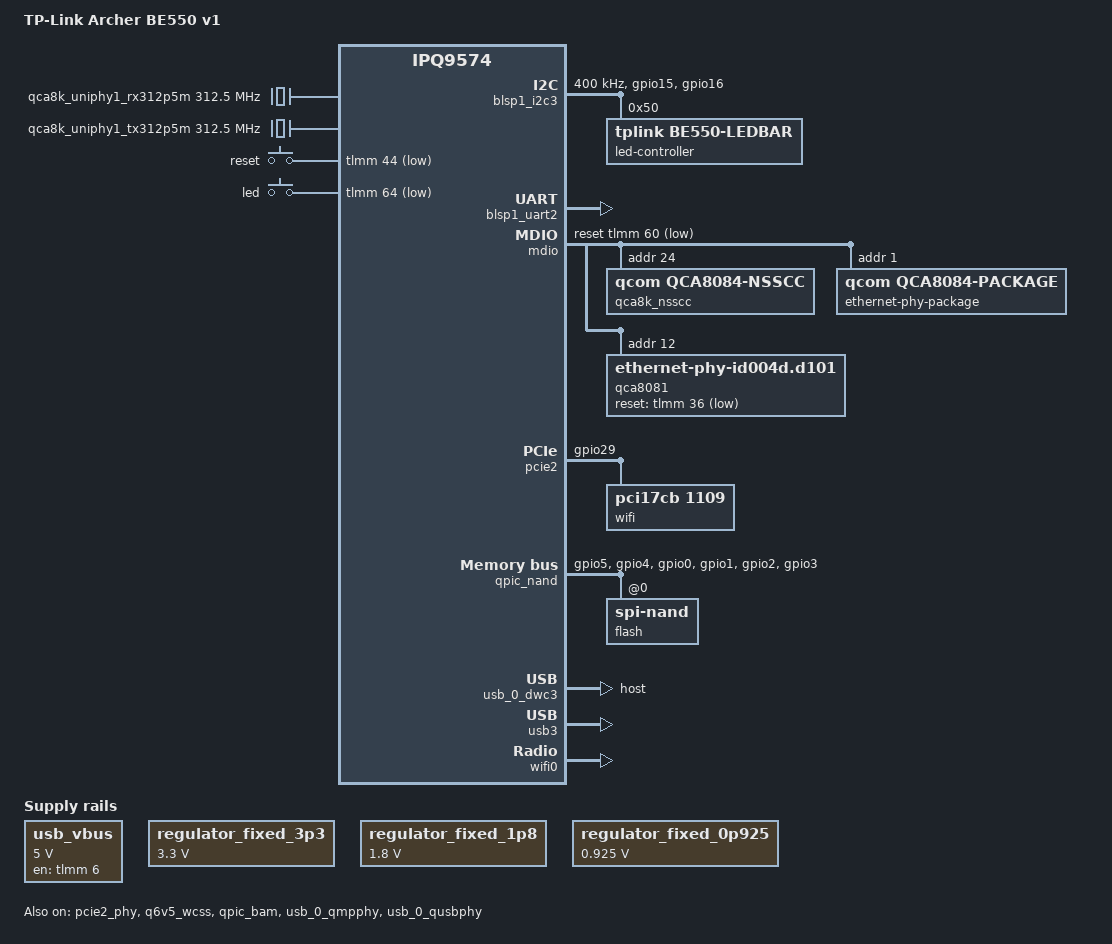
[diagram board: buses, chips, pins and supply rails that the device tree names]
// SPDX-License-Identifier: (GPL-2.0+ OR BSD-3-Clause)

/dts-v1/;

#include <dt-bindings/gpio/gpio.h>
#include <dt-bindings/input/input.h>

#include "ipq9574.dtsi"

#include <dt-bindings/clock/qcom,qca8k-nsscc.h>
#include <dt-bindings/net/qcom,qca808x.h>
#include <dt-bindings/reset/qcom,qca8k-nsscc.h>

/ {
	model = "TP-Link Archer BE550 v1";
	compatible = "tplink,archer-be550-v1", "qcom,ipq9574";

	aliases {
		serial0 = &blsp1_uart2;
	};

	chosen {
		stdout-path = "serial0:115200n8";
		/*
		 * TP-Link's U-Boot appends "ubi.mtd=rootfs[_1]
		 * root=mtd:ubi_rootfs rootfstype=squashfs"; boot the
		 * OpenWrt "rootfs" volume through ubiblock instead.
		 */
		bootargs-append = " root=/dev/ubiblock0_1";
	};

	clocks {
		qca8k_uniphy1_rx312p5m: qca8k-uniphy1-rx312p5m {
			compatible = "fixed-clock";
			clock-frequency = <312500000>;
			#clock-cells = <0>;
		};

		qca8k_uniphy1_tx312p5m: qca8k-uniphy1-tx312p5m {
			compatible = "fixed-clock";
			clock-frequency = <312500000>;
			#clock-cells = <0>;
		};
	};

	/* Integrated radio (WCSS) carve-outs after q6_region, as in the stock DTB */
	reserved-memory {
		m3-dump@4d600000 {
			reg = <0x0 0x4d600000 0x0 0x100000>;
			no-map;
		};

		q6-etr-dump@4d700000 {
			reg = <0x0 0x4d700000 0x0 0x100000>;
			no-map;
		};

		q6-caldb@4d800000 {
			reg = <0x0 0x4d800000 0x0 0x500000>;
			no-map;
		};
	};

	keys {
		compatible = "gpio-keys";
		pinctrl-0 = <&keys_pins>;
		pinctrl-names = "default";

		button-reset {
			label = "reset";
			linux,code = <KEY_RESTART>;
			gpios = <&tlmm 44 GPIO_ACTIVE_LOW>;
			debounce-interval = <60>;
		};

		button-led {
			label = "led";
			linux,code = <KEY_LIGHTS_TOGGLE>;
			gpios = <&tlmm 64 GPIO_ACTIVE_LOW>;
			debounce-interval = <60>;
		};
	};

	/* stock "usb_enabled" GPIO, set high at boot: switches the USB port's VBUS */
	regulator-usb-vbus {
		compatible = "regulator-fixed";
		regulator-name = "usb_vbus";
		regulator-min-microvolt = <5000000>;
		regulator-max-microvolt = <5000000>;
		gpios = <&tlmm 6 GPIO_ACTIVE_HIGH>;
		enable-active-high;
		regulator-always-on;
	};

	/*
	 * The stock DTB declares no USB PHY supplies and only configures MP5496
	 * s1/s2/s4; model the PHY rails as fixed regulators, never RPM L2.
	 */
	regulator_fixed_3p3: s3300 {
		compatible = "regulator-fixed";
		regulator-min-microvolt = <3300000>;
		regulator-max-microvolt = <3300000>;
		regulator-boot-on;
		regulator-always-on;
		regulator-name = "fixed_3p3";
	};

	regulator_fixed_1p8: s1800 {
		compatible = "regulator-fixed";
		regulator-min-microvolt = <1800000>;
		regulator-max-microvolt = <1800000>;
		regulator-boot-on;
		regulator-always-on;
		regulator-name = "fixed_1p8";
	};

	regulator_fixed_0p925: s0925 {
		compatible = "regulator-fixed";
		regulator-min-microvolt = <925000>;
		regulator-max-microvolt = <925000>;
		regulator-boot-on;
		regulator-always-on;
		regulator-name = "fixed_0p925";
	};
};

/* front panel LED microcontroller, as in the stock device tree */
&blsp1_i2c3 {
	pinctrl-0 = <&i2c3_pins>;
	pinctrl-names = "default";
	clock-frequency = <400000>;
	status = "okay";

	led-controller@50 {
		compatible = "tplink,be550-ledbar";
		reg = <0x50>;
	};
};

&blsp1_uart2 {
	pinctrl-0 = <&uart2_pins>;
	pinctrl-names = "default";
	status = "okay";
};

&mdio {
	clock-frequency = <6250000>;
	pinctrl-0 = <&mdio_pins>;
	pinctrl-names = "default";
	/* stock: phy-reset-gpio = <&tlmm 60 0 &tlmm 36 0> */
	reset-gpios = <&tlmm 60 GPIO_ACTIVE_LOW>;
	status = "okay";

	qca8k_nsscc: clock-controller@18 {
		compatible = "qcom,qca8084-nsscc";
		reg = <0x18>;
		clocks = <&cmn_pll ETH0_50MHZ_CLK>,
			 <0>,
			 <0>,
			 <0>,
			 <0>,
			 <&qca8k_uniphy1_rx312p5m>,
			 <&qca8k_uniphy1_tx312p5m>;
		#clock-cells = <1>;
		#reset-cells = <1>;
	};

	ethernet-phy-package@1 {
		#address-cells = <1>;
		#size-cells = <0>;
		compatible = "qcom,qca8084-package";
		reg = <1>;
		clocks = <&qca8k_nsscc NSS_CC_APB_BRIDGE_CLK>,
			 <&qca8k_nsscc NSS_CC_AHB_CLK>,
			 <&qca8k_nsscc NSS_CC_SEC_CTRL_AHB_CLK>,
			 <&qca8k_nsscc NSS_CC_TLMM_CLK>,
			 <&qca8k_nsscc NSS_CC_TLMM_AHB_CLK>,
			 <&qca8k_nsscc NSS_CC_CNOC_AHB_CLK>,
			 <&qca8k_nsscc NSS_CC_MDIO_AHB_CLK>;
		clock-names = "apb_bridge",
			      "ahb",
			      "sec_ctrl_ahb",
			      "tlmm",
			      "tlmm_ahb",
			      "cnoc_ahb",
			      "mdio_ahb";
		resets = <&qca8k_nsscc NSS_CC_GEPHY_FULL_ARES>;
		qcom,phy-addr-fixup = <1 2 3 4 5 6 7>;
		qcom,package-mode = <QCA808X_PCS1_10G_QXGMII_PCS0_UNUNSED>;

		qca8084_0: ethernet-phy@1 {
			compatible = "ethernet-phy-id004d.d180";
			reg = <1>;
			clocks = <&qca8k_nsscc NSS_CC_GEPHY0_SYS_CLK>;
			resets = <&qca8k_nsscc NSS_CC_GEPHY0_SYS_ARES>;
			qcom,xpcs-channel = <0>;
		};

		qca8084_1: ethernet-phy@2 {
			compatible = "ethernet-phy-id004d.d180";
			reg = <2>;
			clocks = <&qca8k_nsscc NSS_CC_GEPHY1_SYS_CLK>;
			resets = <&qca8k_nsscc NSS_CC_GEPHY1_SYS_ARES>;
			qcom,xpcs-channel = <1>;
		};

		qca8084_2: ethernet-phy@3 {
			compatible = "ethernet-phy-id004d.d180";
			reg = <3>;
			clocks = <&qca8k_nsscc NSS_CC_GEPHY2_SYS_CLK>;
			resets = <&qca8k_nsscc NSS_CC_GEPHY2_SYS_ARES>;
			qcom,xpcs-channel = <2>;
		};

		qca8084_3: ethernet-phy@4 {
			compatible = "ethernet-phy-id004d.d180";
			reg = <4>;
			clocks = <&qca8k_nsscc NSS_CC_GEPHY3_SYS_CLK>;
			resets = <&qca8k_nsscc NSS_CC_GEPHY3_SYS_ARES>;
			qcom,xpcs-channel = <3>;
		};

		pcs-phy@6 {
			compatible = "qcom,qca8k-pcs-phy";
			reg = <6>;
			clocks = <&qca8k_nsscc NSS_CC_SRDS1_SYS_CLK>,
				 <&qca8k_uniphy1_tx312p5m>,
				 <&qca8k_uniphy1_rx312p5m>;
			clock-names = "pcs", "pcs_rx_root", "pcs_tx_root";
			resets = <&qca8k_nsscc NSS_CC_SRDS1_SYS_ARES>;
		};

		xpcs-phy@7 {
			compatible = "qcom,qca8k-xpcs-phy";
			reg = <7>;
			#address-cells = <1>;
			#size-cells = <0>;
			resets = <&qca8k_nsscc NSS_CC_XPCS_ARES>;

			channel@0 {
				reg = <0>;
				clocks = <&qca8k_nsscc NSS_CC_MAC1_SRDS1_CH0_XGMII_TX_CLK>,
					 <&qca8k_nsscc NSS_CC_MAC1_SRDS1_CH0_XGMII_RX_CLK>,
					 <&qca8k_nsscc NSS_CC_MAC1_SRDS1_CH0_TX_CLK>,
					 <&qca8k_nsscc NSS_CC_MAC1_SRDS1_CH0_RX_CLK>,
					 <&qca8k_nsscc NSS_CC_MAC1_GEPHY0_RX_CLK>,
					 <&qca8k_nsscc NSS_CC_MAC1_GEPHY0_TX_CLK>,
					 <&qca8k_nsscc NSS_CC_MAC1_RX_CLK_SRC>,
					 <&qca8k_nsscc NSS_CC_MAC1_TX_CLK_SRC>;
				clock-names = "xgmii_rx",
					      "xgmii_tx",
					      "xpcs_rx",
					      "xpcs_tx",
					      "port_rx",
					      "port_tx",
					      "rx_src",
					      "tx_src";
				resets = <&qca8k_nsscc NSS_CC_MAC1_SRDS1_CH0_XGMII_TX_ARES>,
					 <&qca8k_nsscc NSS_CC_MAC1_SRDS1_CH0_XGMII_RX_ARES>,
					 <&qca8k_nsscc NSS_CC_MAC1_SRDS1_CH0_TX_ARES>,
					 <&qca8k_nsscc NSS_CC_MAC1_SRDS1_CH0_RX_ARES>,
					 <&qca8k_nsscc NSS_CC_MAC1_GEPHY0_RX_ARES>,
					 <&qca8k_nsscc NSS_CC_MAC1_GEPHY0_TX_ARES>;
				reset-names = "xgmii_rx",
					      "xgmii_tx",
					      "xpcs_rx",
					      "xpcs_tx",
					      "port_rx",
					      "port_tx";
			};

			channel@1 {
				reg = <1>;
				clocks = <&qca8k_nsscc NSS_CC_MAC2_SRDS1_CH1_XGMII_TX_CLK>,
					 <&qca8k_nsscc NSS_CC_MAC2_SRDS1_CH1_XGMII_RX_CLK>,
					 <&qca8k_nsscc NSS_CC_MAC2_SRDS1_CH1_TX_CLK>,
					 <&qca8k_nsscc NSS_CC_MAC2_SRDS1_CH1_RX_CLK>,
					 <&qca8k_nsscc NSS_CC_MAC2_GEPHY1_RX_CLK>,
					 <&qca8k_nsscc NSS_CC_MAC2_GEPHY1_TX_CLK>,
					 <&qca8k_nsscc NSS_CC_MAC2_RX_CLK_SRC>,
					 <&qca8k_nsscc NSS_CC_MAC2_TX_CLK_SRC>;
				clock-names = "xgmii_rx",
					      "xgmii_tx",
					      "xpcs_rx",
					      "xpcs_tx",
					      "port_rx",
					      "port_tx",
					      "rx_src",
					      "tx_src";
				resets = <&qca8k_nsscc NSS_CC_MAC2_SRDS1_CH1_XGMII_TX_ARES>,
					 <&qca8k_nsscc NSS_CC_MAC2_SRDS1_CH1_XGMII_RX_ARES>,
					 <&qca8k_nsscc NSS_CC_MAC2_SRDS1_CH1_TX_ARES>,
					 <&qca8k_nsscc NSS_CC_MAC2_SRDS1_CH1_RX_ARES>,
					 <&qca8k_nsscc NSS_CC_MAC2_GEPHY1_RX_ARES>,
					 <&qca8k_nsscc NSS_CC_MAC2_GEPHY1_TX_ARES>;
				reset-names = "xgmii_rx",
					      "xgmii_tx",
					      "xpcs_rx",
					      "xpcs_tx",
					      "port_rx",
					      "port_tx";
			};

			channel@2 {
				reg = <2>;
				clocks = <&qca8k_nsscc NSS_CC_MAC3_SRDS1_CH2_XGMII_TX_CLK>,
					 <&qca8k_nsscc NSS_CC_MAC3_SRDS1_CH2_XGMII_RX_CLK>,
					 <&qca8k_nsscc NSS_CC_MAC3_SRDS1_CH2_TX_CLK>,
					 <&qca8k_nsscc NSS_CC_MAC3_SRDS1_CH2_RX_CLK>,
					 <&qca8k_nsscc NSS_CC_MAC3_GEPHY2_RX_CLK>,
					 <&qca8k_nsscc NSS_CC_MAC3_GEPHY2_TX_CLK>,
					 <&qca8k_nsscc NSS_CC_MAC3_RX_CLK_SRC>,
					 <&qca8k_nsscc NSS_CC_MAC3_TX_CLK_SRC>;
				clock-names = "xgmii_rx",
					      "xgmii_tx",
					      "xpcs_rx",
					      "xpcs_tx",
					      "port_rx",
					      "port_tx",
					      "rx_src",
					      "tx_src";
				resets = <&qca8k_nsscc NSS_CC_MAC3_SRDS1_CH2_XGMII_TX_ARES>,
					 <&qca8k_nsscc NSS_CC_MAC3_SRDS1_CH2_XGMII_RX_ARES>,
					 <&qca8k_nsscc NSS_CC_MAC3_SRDS1_CH2_TX_ARES>,
					 <&qca8k_nsscc NSS_CC_MAC3_SRDS1_CH2_RX_ARES>,
					 <&qca8k_nsscc NSS_CC_MAC3_GEPHY2_RX_ARES>,
					 <&qca8k_nsscc NSS_CC_MAC3_GEPHY2_TX_ARES>;
				reset-names = "xgmii_rx",
					      "xgmii_tx",
					      "xpcs_rx",
					      "xpcs_tx",
					      "port_rx",
					      "port_tx";
			};

			channel@3 {
				reg = <3>;
				clocks = <&qca8k_nsscc NSS_CC_MAC4_SRDS1_CH3_XGMII_TX_CLK>,
					 <&qca8k_nsscc NSS_CC_MAC4_SRDS1_CH3_XGMII_RX_CLK>,
					 <&qca8k_nsscc NSS_CC_MAC4_SRDS1_CH3_TX_CLK>,
					 <&qca8k_nsscc NSS_CC_MAC4_SRDS1_CH3_RX_CLK>,
					 <&qca8k_nsscc NSS_CC_MAC4_GEPHY3_RX_CLK>,
					 <&qca8k_nsscc NSS_CC_MAC4_GEPHY3_TX_CLK>,
					 <&qca8k_nsscc NSS_CC_MAC4_RX_CLK_SRC>,
					 <&qca8k_nsscc NSS_CC_MAC4_TX_CLK_SRC>;
				clock-names = "xgmii_rx",
					      "xgmii_tx",
					      "xpcs_rx",
					      "xpcs_tx",
					      "port_rx",
					      "port_tx",
					      "rx_src",
					      "tx_src";
				resets = <&qca8k_nsscc NSS_CC_MAC4_SRDS1_CH3_XGMII_TX_ARES>,
					 <&qca8k_nsscc NSS_CC_MAC4_SRDS1_CH3_XGMII_RX_ARES>,
					 <&qca8k_nsscc NSS_CC_MAC4_SRDS1_CH3_TX_ARES>,
					 <&qca8k_nsscc NSS_CC_MAC4_SRDS1_CH3_RX_ARES>,
					 <&qca8k_nsscc NSS_CC_MAC4_GEPHY3_RX_ARES>,
					 <&qca8k_nsscc NSS_CC_MAC4_GEPHY3_TX_ARES>;
				reset-names = "xgmii_rx",
					      "xgmii_tx",
					      "xpcs_rx",
					      "xpcs_tx",
					      "port_rx",
					      "port_tx";
			};
		};
	};

	/* stock boot log: qca808x PHY at 90000.mdio:0c */
	qca8081: ethernet-phy@c {
		compatible = "ethernet-phy-id004d.d101";
		reg = <12>;
		reset-assert-us = <10000>;
		reset-deassert-us = <150000>;
		reset-gpios = <&tlmm 36 GPIO_ACTIVE_LOW>;
	};
};

&pcie2_phy {
	status = "okay";
};

&pcie2 {
	pinctrl-0 = <&pcie2_pins>;
	pinctrl-names = "default";
	perst-gpios = <&tlmm 29 GPIO_ACTIVE_LOW>;
	status = "okay";

	pcie@0 {
		device_type = "pci";
		reg = <0x0 0x0 0x0 0x0 0x0>;
		bus-range = <0x01 0xff>;
		#address-cells = <3>;
		#size-cells = <2>;
		ranges;

		/* QCN6274, 5/6 GHz */
		wifi@0 {
			compatible = "pci17cb,1109";
			reg = <0x10000 0x0 0x0 0x0 0x0>;
			qcom,calibration-variant = "TP-Link-Archer-BE550-v1";
		};
	};
};

/* IPQ9554 has no UNIPHY1; stock: "UNIPHY 1 is not available on this SKU" */
&pcs1 {
	status = "disabled";
};

/* Integrated IPQ9554 radio (2.4 GHz) */
&q6v5_wcss {
	status = "okay";
};

&qcom_ppe {
	ethernet-ports {
		#address-cells = <1>;
		#size-cells = <0>;

		port@1 {
			reg = <1>;
			label = "lan1";
			phy-mode = "10g-qxgmii";
			phy-handle = <&qca8084_0>;
			pcs-handle = <&pcs0_ch0>;
			clocks = <&nsscc NSS_CC_PORT1_MAC_CLK>,
				 <&nsscc NSS_CC_PORT1_RX_CLK>,
				 <&nsscc NSS_CC_PORT1_TX_CLK>;
			clock-names = "mac", "rx", "tx";
			resets = <&nsscc PORT1_MAC_ARES>,
				 <&nsscc PORT1_RX_ARES>,
				 <&nsscc PORT1_TX_ARES>;
			reset-names = "mac", "rx", "tx";
		};

		port@2 {
			reg = <2>;
			label = "lan2";
			phy-mode = "10g-qxgmii";
			phy-handle = <&qca8084_1>;
			pcs-handle = <&pcs0_ch1>;
			clocks = <&nsscc NSS_CC_PORT2_MAC_CLK>,
				 <&nsscc NSS_CC_PORT2_RX_CLK>,
				 <&nsscc NSS_CC_PORT2_TX_CLK>;
			clock-names = "mac", "rx", "tx";
			resets = <&nsscc PORT2_MAC_ARES>,
				 <&nsscc PORT2_RX_ARES>,
				 <&nsscc PORT2_TX_ARES>;
			reset-names = "mac", "rx", "tx";
		};

		port@3 {
			reg = <3>;
			label = "lan3";
			phy-mode = "10g-qxgmii";
			phy-handle = <&qca8084_2>;
			pcs-handle = <&pcs0_ch2>;
			clocks = <&nsscc NSS_CC_PORT3_MAC_CLK>,
				 <&nsscc NSS_CC_PORT3_RX_CLK>,
				 <&nsscc NSS_CC_PORT3_TX_CLK>;
			clock-names = "mac", "rx", "tx";
			resets = <&nsscc PORT3_MAC_ARES>,
				 <&nsscc PORT3_RX_ARES>,
				 <&nsscc PORT3_TX_ARES>;
			reset-names = "mac", "rx", "tx";
		};

		port@4 {
			reg = <4>;
			label = "lan4";
			phy-mode = "10g-qxgmii";
			phy-handle = <&qca8084_3>;
			pcs-handle = <&pcs0_ch3>;
			clocks = <&nsscc NSS_CC_PORT4_MAC_CLK>,
				 <&nsscc NSS_CC_PORT4_RX_CLK>,
				 <&nsscc NSS_CC_PORT4_TX_CLK>;
			clock-names = "mac", "rx", "tx";
			resets = <&nsscc PORT4_MAC_ARES>,
				 <&nsscc PORT4_RX_ARES>,
				 <&nsscc PORT4_TX_ARES>;
			reset-names = "mac", "rx", "tx";
		};

		port@6 {
			reg = <6>;
			label = "wan";
			phy-mode = "sgmii";
			managed = "in-band-status";
			phy-handle = <&qca8081>;
			pcs-handle = <&pcs2_ch0>;
			clocks = <&nsscc NSS_CC_PORT6_MAC_CLK>,
				 <&nsscc NSS_CC_PORT6_RX_CLK>,
				 <&nsscc NSS_CC_PORT6_TX_CLK>;
			clock-names = "mac", "rx", "tx";
			resets = <&nsscc PORT6_MAC_ARES>,
				 <&nsscc PORT6_RX_ARES>,
				 <&nsscc PORT6_TX_ARES>;
			reset-names = "mac", "rx", "tx";
		};
	};
};

&qpic_bam {
	status = "okay";
};

&qpic_nand {
	pinctrl-0 = <&qpic_snand_default_state>;
	pinctrl-names = "default";
	status = "okay";

	/* Winbond W25N01GWZEIG, 4-bit ECC per U-Boot and the stock DTB */
	flash@0 {
		compatible = "spi-nand";
		reg = <0>;
		#address-cells = <1>;
		#size-cells = <1>;
		nand-ecc-engine = <&qpic_nand>;
		nand-ecc-strength = <4>;
		nand-ecc-step-size = <512>;
		nand-bus-width = <8>;

		partitions {
			compatible = "qcom,smem-part";
		};
	};
};

&rpm_requests {
	regulators {
		compatible = "qcom,rpm-mp5496-regulators";

		ipq9574_s1: s1 {
			regulator-min-microvolt = <725000>;
			regulator-max-microvolt = <1075000>;
		};
	};
};

&sleep_clk {
	clock-frequency = <32000>;
};

&tlmm {
	i2c3_pins: i2c3-state {
		pins = "gpio15", "gpio16";
		function = "blsp3_i2c";
		drive-strength = <8>;
		bias-disable;
	};

	keys_pins: keys-state {
		pins = "gpio44", "gpio64";
		function = "gpio";
		drive-strength = <8>;
		bias-pull-up;
	};

	pcie2_pins: pcie2-state {
		pins = "gpio29";
		function = "gpio";
		drive-strength = <8>;
		bias-pull-down;
		output-low;
	};

	qpic_snand_default_state: qpic-snand-default-state {
		clock-pins {
			pins = "gpio5";
			function = "qspi_clk";
			drive-strength = <8>;
			bias-disable;
		};

		cs-pins {
			pins = "gpio4";
			function = "qspi_cs";
			drive-strength = <8>;
			bias-disable;
		};

		data-pins {
			pins = "gpio0", "gpio1", "gpio2", "gpio3";
			function = "qspi_data";
			drive-strength = <8>;
			bias-disable;
		};
	};
};

&usb_0_dwc3 {
	dr_mode = "host";
};

&usb_0_qmpphy {
	vdda-pll-supply = <&regulator_fixed_1p8>;
	vdda-phy-supply = <&regulator_fixed_0p925>;

	status = "okay";
};

&usb_0_qusbphy {
	vdd-supply = <&regulator_fixed_0p925>;
	vdda-pll-supply = <&regulator_fixed_1p8>;
	vdda-phy-dpdm-supply = <&regulator_fixed_3p3>;

	status = "okay";
};

&usb3 {
	status = "okay";
};

&wifi0 {
	qcom,calibration-variant = "TP-Link-Archer-BE550-v1";
	status = "okay";
};

/*
 * The bootstrap pins select the XO frequency; the WiFi reference output is
 * 48 MHz and xo_board_clk is 24 MHz (stock QSDK "xo" = 24 MHz).
 */
&ref_48mhz_clk {
	clock-div = <1>;
	clock-mult = <1>;
};

&xo_board_clk {
	clock-div = <2>;
	clock-mult = <1>;
};

&xo_clk {
	clock-frequency = <48000000>;
};
